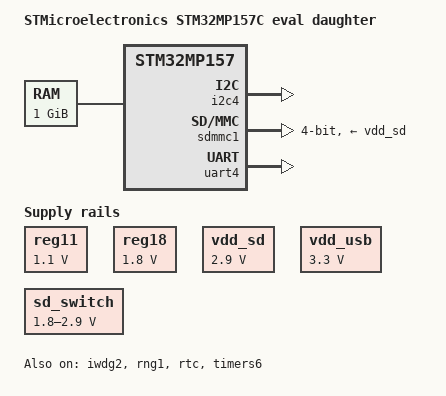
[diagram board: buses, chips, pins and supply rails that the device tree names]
// SPDX-License-Identifier: (GPL-2.0+ OR BSD-3-Clause)
/*
 * Copyright (C) STMicroelectronics 2017 - All Rights Reserved
 * Author: Ludovic Barre <ludovic.barre@st.com> for STMicroelectronics.
 */
/dts-v1/;

#include "stm32mp157c.dtsi"
#include "stm32mp157-pinctrl.dtsi"
#include <dt-bindings/gpio/gpio.h>

/ {
	model = "STMicroelectronics STM32MP157C eval daughter";
	compatible = "st,stm32mp157c-ed1", "st,stm32mp157";

	chosen {
		stdout-path = "serial0:115200n8";
	};

	memory@c0000000 {
		reg = <0xC0000000 0x40000000>;
	};

	aliases {
		serial0 = &uart4;
	};

	reg11: reg11 {
		compatible = "regulator-fixed";
		regulator-name = "reg11";
		regulator-min-microvolt = <1100000>;
		regulator-max-microvolt = <1100000>;
		regulator-always-on;
	};

	reg18: reg18 {
		compatible = "regulator-fixed";
		regulator-name = "reg18";
		regulator-min-microvolt = <1800000>;
		regulator-max-microvolt = <1800000>;
		regulator-always-on;
	};

	vdd_sd: ldo5 {
		compatible = "regulator-fixed";
		regulator-name = "vdd_sd";
		regulator-min-microvolt = <2900000>;
		regulator-max-microvolt = <2900000>;
		regulator-boot-on;
	};

	vdd_usb: vdd-usb {
		compatible = "regulator-fixed";
		regulator-name = "vdd_usb";
		regulator-min-microvolt = <3300000>;
		regulator-max-microvolt = <3300000>;
		regulator-always-on;
	};

	sd_switch: regulator-sd_switch {
		compatible = "regulator-gpio";
		regulator-name = "sd_switch";
		regulator-min-microvolt = <1800000>;
		regulator-max-microvolt = <2900000>;
		regulator-type = "voltage";
		regulator-always-on;

		gpios = <&gpiof 14 GPIO_ACTIVE_HIGH>;
		gpios-states = <0>;
		states = <1800000 0x1 2900000 0x0>;
	};
};

&i2c4 {
	pinctrl-names = "default";
	pinctrl-0 = <&i2c4_pins_a>;
	i2c-scl-rising-time-ns = <185>;
	i2c-scl-falling-time-ns = <20>;
	status = "okay";
};

&iwdg2 {
	timeout-sec = <32>;
	status = "okay";
};

&sdmmc1 {
	pinctrl-names = "default", "sleep";
	pinctrl-0 = <&sdmmc1_b4_pins_a &sdmmc1_dir_pins_a>;
	pinctrl-1 = <&sdmmc1_b4_sleep_pins_a &sdmmc1_dir_sleep_pins_a>;
	broken-cd;
	st,dirpol;
	st,negedge;
	st,pin-ckin;
	bus-width = <4>;
	vmmc-supply = <&vdd_sd>;
	vqmmc-supply = <&sd_switch>;
	sd-uhs-sdr12;
	sd-uhs-sdr25;
	sd-uhs-sdr50;
	sd-uhs-ddr50;
	sd-uhs-sdr104;
	status = "okay";
};

&rng1 {
	status = "okay";
};

&rtc {
	status = "okay";
};

&timers6 {
	status = "okay";
	timer@5 {
		status = "okay";
	};
};

&uart4 {
	pinctrl-names = "default";
	pinctrl-0 = <&uart4_pins_a>;
	status = "okay";
};

&usbphyc_port0 {
	phy-supply = <&vdd_usb>;
	vdda1v1-supply = <&reg11>;
	vdda1v8-supply = <&reg18>;
};

&usbphyc_port1 {
	phy-supply = <&vdd_usb>;
	vdda1v1-supply = <&reg11>;
	vdda1v8-supply = <&reg18>;
};
